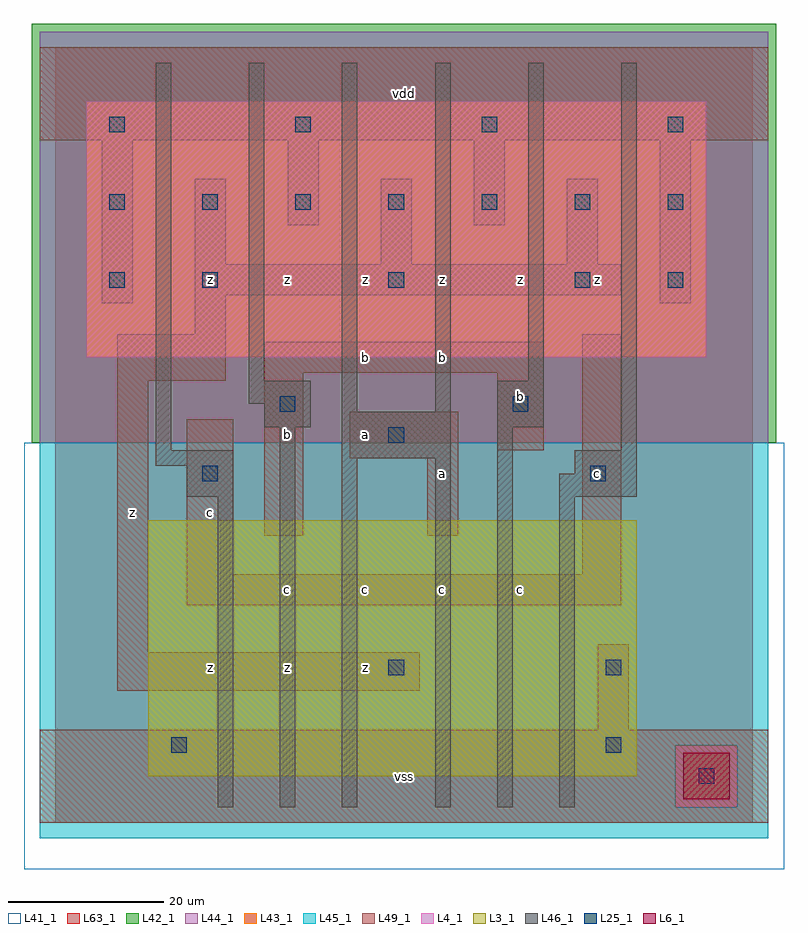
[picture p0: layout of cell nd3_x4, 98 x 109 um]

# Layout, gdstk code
import gdstk
lib = gdstk.Library(unit=1e-6, precision=1e-09)
def R(c, l, rs):  # rectangles x0, y0, x1, y1
    for r in rs: c.add(gdstk.rectangle(r[:2], r[2:], *l))
def A(c, l, x, y, w, h, nx, ny, dx, dy):  # array of equal rectangles
    R(c, l, [(x+i*dx, y+j*dy, x+i*dx+w, y+j*dy+h) for i in range(nx) for j in range(ny)])
L3_1 = (3, 1)
L4_1 = (4, 1)
L6_1 = (6, 1)
L25_1 = (25, 1)
L41_1 = (41, 1)
L42_1 = (42, 1)
L43_1 = (43, 1)
L44_1 = (44, 1)
L45_1 = (45, 1)
L46_1 = (46, 1)
L49_1 = (49, 1)
L63_1 = (63, 1)

nd3_x4 = lib.new_cell('nd3_x4')
R(nd3_x4, L3_1, [(12,6,75,39)])
R(nd3_x4, L4_1, [(4,60,84,93)])
R(nd3_x4, L6_1, [(81,3,87,9)])
A(nd3_x4, L25_1, 19, 69, 2, 2, 3, 1, 24, 0)
A(nd3_x4, L25_1, 7, 79, 2, 2, 7, 1, 12, 0)
A(nd3_x4, L25_1, 7, 89, 2, 2, 4, 1, 24, 0)
R(nd3_x4, L25_1, [(83,5,85,7), (15,9,17,11), (71,9,73,11), (43,19,45,21), (71,19,73,21), (19,44,21,46), (69,44,71,46), (43,49,45,51), (29,53,31,55), (59,53,61,55), (7,69,9,71), (79,69,81,71)])
R(nd3_x4, L41_1, [(-4,-6,94,49), (-3,-3,93,49)])
R(nd3_x4, L42_1, [(-3,49,93,103)])
R(nd3_x4, L43_1, [(81,3,87,9), (12,6,75,39), (4,60,84,93)])
R(nd3_x4, L44_1, [(80,2,88,10), (-2,49,92,102)])
R(nd3_x4, L45_1, [(-2,-2,92,2), (-2,2,80,10), (88,2,92,10), (-2,10,92,49)])
R(nd3_x4, L46_1, [(21,2,23,42), (29,2,31,51), (37,2,39,47), (49,2,51,47), (57,2,59,51), (65,2,67,42), (17,42,23,46), (65,42,75,45), (67,45,75,48), (13,46,23,48), (37,47,51,53), (13,48,15,98), (73,48,75,98), (27,51,33,54), (57,51,63,57), (37,53,39,98), (49,53,51,98), (25,54,33,57), (25,57,27,98), (61,57,63,98)])
A(nd3_x4, L49_1, 18, 72, 4, 11, 3, 1, 24, 0)
R(nd3_x4, L49_1, [(-2,0,92,12), (70,12,74,23), (8,17,47,22), (8,22,12,57), (17,28,73,32), (17,32,23,52), (68,32,73,63), (27,37,32,58), (48,37,52,47), (38,47,52,53), (57,48,63,58), (8,57,22,63), (27,58,63,62), (18,63,22,68), (6,67,10,88), (78,67,82,88), (18,68,73,72), (30,77,34,88), (54,77,58,88), (-2,88,92,100)])
R(nd3_x4, L63_1, [(0,0,90,100)])
nd3_x4.add(gdstk.Label('z', (10,40), layer=49, texttype=1))
nd3_x4.add(gdstk.Label('z', (10,40), layer=49, texttype=1))
nd3_x4.add(gdstk.Label('z', (30,20), layer=49, texttype=1))
nd3_x4.add(gdstk.Label('z', (30,20), layer=49, texttype=1))
nd3_x4.add(gdstk.Label('z', (20,20), layer=49, texttype=1))
nd3_x4.add(gdstk.Label('z', (20,20), layer=49, texttype=1))
nd3_x4.add(gdstk.Label('c', (30,30), layer=49, texttype=1))
nd3_x4.add(gdstk.Label('c', (30,30), layer=49, texttype=1))
nd3_x4.add(gdstk.Label('c', (20,40), layer=49, texttype=1))
nd3_x4.add(gdstk.Label('c', (20,40), layer=49, texttype=1))
nd3_x4.add(gdstk.Label('b', (30,50), layer=49, texttype=1))
nd3_x4.add(gdstk.Label('b', (30,50), layer=49, texttype=1))
nd3_x4.add(gdstk.Label('z', (20,70), layer=49, texttype=1))
nd3_x4.add(gdstk.Label('z', (20,70), layer=49, texttype=1))
nd3_x4.add(gdstk.Label('z', (30,70), layer=49, texttype=1))
nd3_x4.add(gdstk.Label('z', (30,70), layer=49, texttype=1))
nd3_x4.add(gdstk.Label('vss', (45,6), layer=49, texttype=1))
nd3_x4.add(gdstk.Label('vss', (45,6), layer=49, texttype=1))
nd3_x4.add(gdstk.Label('z', (40,20), layer=49, texttype=1))
nd3_x4.add(gdstk.Label('z', (40,20), layer=49, texttype=1))
nd3_x4.add(gdstk.Label('c', (50,30), layer=49, texttype=1))
nd3_x4.add(gdstk.Label('c', (40,30), layer=49, texttype=1))
nd3_x4.add(gdstk.Label('c', (40,30), layer=49, texttype=1))
nd3_x4.add(gdstk.Label('c', (50,30), layer=49, texttype=1))
nd3_x4.add(gdstk.Label('a', (50,45), layer=49, texttype=1))
nd3_x4.add(gdstk.Label('a', (40,50), layer=49, texttype=1))
nd3_x4.add(gdstk.Label('a', (40,50), layer=49, texttype=1))
nd3_x4.add(gdstk.Label('a', (50,45), layer=49, texttype=1))
nd3_x4.add(gdstk.Label('b', (40,60), layer=49, texttype=1))
nd3_x4.add(gdstk.Label('b', (50,60), layer=49, texttype=1))
nd3_x4.add(gdstk.Label('b', (40,60), layer=49, texttype=1))
nd3_x4.add(gdstk.Label('b', (50,60), layer=49, texttype=1))
nd3_x4.add(gdstk.Label('z', (50,70), layer=49, texttype=1))
nd3_x4.add(gdstk.Label('z', (40,70), layer=49, texttype=1))
nd3_x4.add(gdstk.Label('z', (40,70), layer=49, texttype=1))
nd3_x4.add(gdstk.Label('z', (50,70), layer=49, texttype=1))
nd3_x4.add(gdstk.Label('vdd', (45,94), layer=49, texttype=1))
nd3_x4.add(gdstk.Label('vdd', (45,94), layer=49, texttype=1))
nd3_x4.add(gdstk.Label('c', (60,30), layer=49, texttype=1))
nd3_x4.add(gdstk.Label('c', (60,30), layer=49, texttype=1))
nd3_x4.add(gdstk.Label('c', (70,45), layer=49, texttype=1))
nd3_x4.add(gdstk.Label('b', (60,55), layer=49, texttype=1))
nd3_x4.add(gdstk.Label('c', (70,45), layer=49, texttype=1))
nd3_x4.add(gdstk.Label('b', (60,55), layer=49, texttype=1))
nd3_x4.add(gdstk.Label('z', (70,70), layer=49, texttype=1))
nd3_x4.add(gdstk.Label('z', (60,70), layer=49, texttype=1))
nd3_x4.add(gdstk.Label('z', (60,70), layer=49, texttype=1))
nd3_x4.add(gdstk.Label('z', (70,70), layer=49, texttype=1))

lib.write_gds('nd3_x4.gds')
